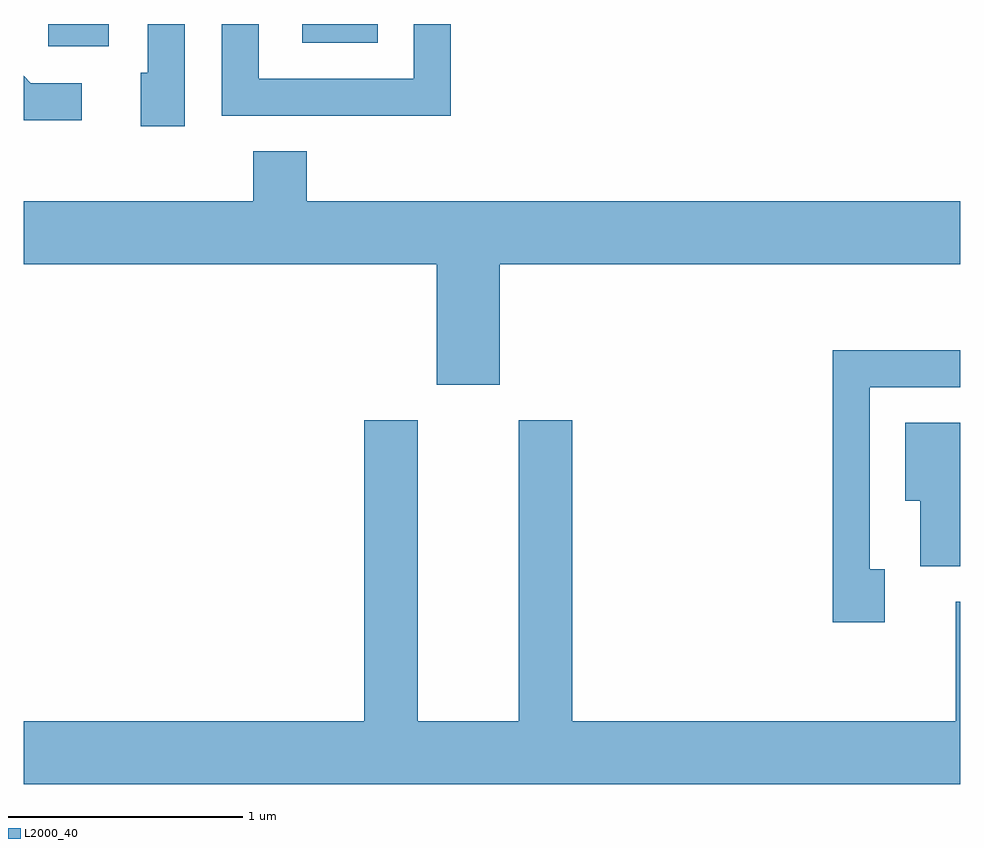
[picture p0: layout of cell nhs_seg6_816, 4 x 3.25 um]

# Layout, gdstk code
import gdstk
lib = gdstk.Library(unit=1e-6, precision=1e-09)
def R(c, l, rs):  # rectangles x0, y0, x1, y1
    for r in rs: c.add(gdstk.rectangle(r[:2], r[2:], *l))
def P(c, l, *ps):  # polygons
    for p in ps: c.add(gdstk.Polygon(p, *l))
L2000_40 = (2000, 40)

nhs_seg6_816 = lib.new_cell('nhs_seg6_816')
R(nhs_seg6_816, L2000_40, [(209.716,1562.066,209.974,1562.162), (210.801,1562.081,211.124,1562.162)])
P(nhs_seg6_816, L2000_40, [(210.299,1562.162),(210.141,1562.162),(210.141,1561.954),(210.111,1561.954),(210.111,1561.726),(210.299,1561.726)],
  [(211.434,1562.162),(211.276,1562.162),(211.276,1561.929),(210.614,1561.929),(210.614,1562.162),(210.456,1562.162),(210.456,1561.771),(211.434,1561.771)],
  [(209.858,1561.909),(209.642,1561.909),(209.611,1561.94),(209.611,1561.751),(209.858,1561.751)],
  [(211.644,1561.136),(213.611,1561.136),(213.611,1561.404),(210.819,1561.404),(210.819,1561.619),(210.591,1561.619),(210.591,1561.404),(209.611,1561.404),(209.611,1561.136),(211.376,1561.136),(211.376,1560.621),(211.644,1560.621)],
  [(213.289,1559.834),(213.224,1559.834),(213.224,1560.611),(213.611,1560.611),(213.611,1560.769),(213.066,1560.769),(213.066,1559.606),(213.289,1559.606)],
  [(213.611,1559.694),(213.591,1559.694),(213.591,1559.184),(211.954,1559.184),(211.954,1560.469),(211.726,1560.469),(211.726,1559.184),(211.294,1559.184),(211.294,1560.469),(211.066,1560.469),(211.066,1559.184),(209.611,1559.184),(209.611,1558.916),(213.611,1558.916)],
  [(213.611,1560.459),(213.376,1560.459),(213.376,1560.126),(213.441,1560.126),(213.441,1559.846),(213.611,1559.846)])

lib.write_gds('nhs_seg6_816.gds')
